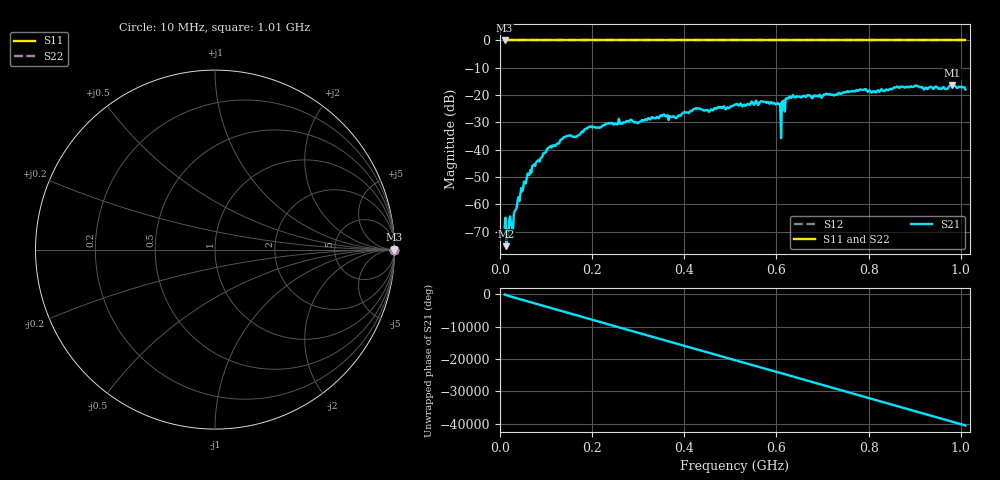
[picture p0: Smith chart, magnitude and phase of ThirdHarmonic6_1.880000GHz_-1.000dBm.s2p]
! 8/16/2025 10:42:59 PM
! C:\ANRITSUVNA\TEMP\TEMP.S2P
! CHANNEL.1
! TR.MEASUREMENT
! RAW.DATA
! RF.CORRECTION.OFF
! AVERAGING.OFF
! IF.BANDWIDTH: 5KHZ
! SWEEPTYPE:  FREQ.SWEEP(Linear)
! Reference Plane Port Info
! PORT:  PORT1  PORT2
! DISTANCE:  0  m  0  m
! TIME:  0  s  0  s
! PHASE.OFFSET:  0  deg.  0  deg.
! LOSS:  0  dB  0  dB
! REF.LOSS:  0  dB  0  dB
! REF.FREQ:  0  Hz  0  Hz
! Power Info
! POWER:  -20  dBm  -20  dBm
! EFF.POWER:  -20  dBm  -20  dBm
! SOURCE.ATTEN:  0  dB  0  dB
! TEST.ATTEN:  0  dB  0  dB
# GHZ S RI R 50.0
! FREQ.GHZ  S11RE  S11IM  S21RE  S21IM  S12RE  S12IM  S22RE  S22IM
!; PortSelection: Port_12
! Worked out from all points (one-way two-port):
!   501 points, 10 MHz to 1.01 GHz, reference 50 ohm
!   highest |S21| = -16.42 dB at 982 MHz (marker M1); lowest = -75.3 dB at 14 MHz (marker M2)
!   lowest |S11| = 0.0 dB at 10 MHz (marker M3)
!   |S11| at or under -10 dB: nowhere
!   |S22| runs from 0.0 to 0.0 dB; largest |S21 - S12| = 1.1
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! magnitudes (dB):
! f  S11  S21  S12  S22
! 10 MHz  0.0  -68.4  0.0  0.0
! 14 MHz  0.0  -75.3  0.0  0.0
! 28 MHz  0.0  -69.6  0.0  0.0
! 36 MHz  0.0  -61.4  0.0  0.0
! 50 MHz  0.0  -54.3  0.0  0.0
! 74 MHz  0.0  -45.4  0.0  0.0
! 106 MHz  0.0  -39.1  0.0  0.0
! 142 MHz  0.0  -35.3  0.0  0.0
! 178 MHz  0.0  -33.3  0.0  0.0
! 196 MHz  0.0  -31.4  0.0  0.0
! 344 MHz  0.0  -28.5  0.0  0.0
! 510 MHz  0.0  -23.5  0.0  0.0
! 570 MHz  0.0  -22.3  0.0  0.0
! 604 MHz  0.0  -23.2  0.0  0.0
! 606 MHz  0.0  -23.4  0.0  0.0
! 614 MHz  0.0  -22.2  0.0  0.0
! 616 MHz  0.0  -22.0  0.0  0.0
! 624 MHz  0.0  -21.3  0.0  0.0
! 678 MHz  0.0  -21.2  0.0  0.0
! 844 MHz  0.0  -18.1  0.0  0.0
! 982 MHz  0.0  -16.4  0.0  0.0
! 1.01 GHz  0.0  -17.9  0.0  0.0
